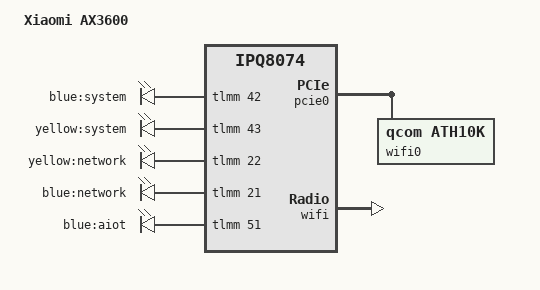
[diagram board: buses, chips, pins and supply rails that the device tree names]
// SPDX-License-Identifier: GPL-2.0-or-later OR MIT

/dts-v1/;

#include "ipq8071-xiaomi.dtsi"

/ {
	model = "Xiaomi AX3600";
	compatible = "xiaomi,ax3600", "qcom,ipq8074";

	leds {
		compatible = "gpio-leds";

		led_system_blue: system-blue {
			label = "blue:system";
			gpios = <&tlmm 42 GPIO_ACTIVE_HIGH>;
		};

		led_system_yellow: system-yellow {
			label = "yellow:system";
			gpios = <&tlmm 43 GPIO_ACTIVE_HIGH>;
		};

		network-yellow {
			label = "yellow:network";
			gpios = <&tlmm 22 GPIO_ACTIVE_HIGH>;
		};

		network-blue {
			label = "blue:network";
			gpios = <&tlmm 21 GPIO_ACTIVE_HIGH>;
		};

		aiot {
			label = "blue:aiot";
			gpios = <&tlmm 51 GPIO_ACTIVE_HIGH>;
			linux,default-trigger = "phy0tpt";
		};
	};
};

&pcie0 {
	status = "okay";
	perst-gpios = <&tlmm 52 GPIO_ACTIVE_HIGH>;

	pcie@0 {
		wifi0: wifi@0,0 {
			status = "okay";
			compatible = "qcom,ath10k";
			qcom,ath10k-fw-memory-mode = <1>;
			qcom,ath10k-calibration-variant = "Xiaomi-AX3600";
			reg = <0x00010000 0 0 0 0>;

			nvmem-cell-names = "calibration";
			nvmem-cells = <&caldata_qca9889>;
		};
	};
};

&wifi {
	status = "okay";
	qcom,ath11k-fw-memory-mode = <1>;
	qcom,ath11k-calibration-variant = "Xiaomi-AX3600";
};
